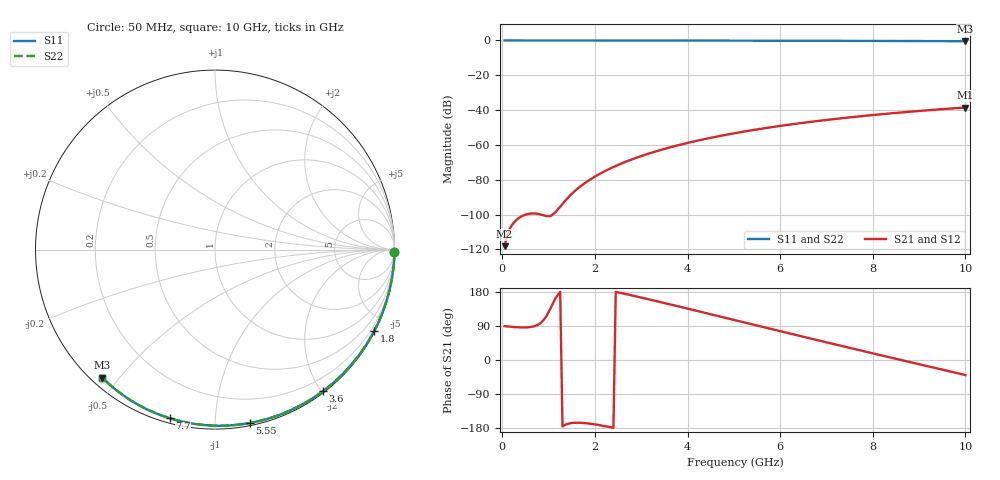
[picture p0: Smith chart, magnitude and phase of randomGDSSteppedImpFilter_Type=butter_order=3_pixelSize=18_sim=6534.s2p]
! freq	dB(S11)	phase(S11)	dB(S12)	phase(S12)
!  dB(S21)	phase(S21)	dB(S22)	phase(S22)
!S-par simulation data
#  GHz  S  DB  R 50
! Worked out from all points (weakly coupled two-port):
!   200 points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, 50 MHz to 10 GHz, reference 50 ohm
!   highest |S21| = -38.51 dB at 10 GHz (marker M1); lowest = -118.1 dB at 50 MHz (marker M2)
!   lowest |S11| = -0.4 dB at 10 GHz (marker M3), VSWR 39.30, Z = 1.53 - j22.6 ohm
!   |S11| at or under -10 dB: nowhere
!   |S22| runs from -0.4 to 0.0 dB; largest |S21 - S12| = 0
!   S11 on the Smith chart (normalised r, x): 50 MHz: open; 1.8 GHz: 0.04, -4.18; 3.6 GHz: 0.02, -2.02; 5.55 GHz: 0.02, -1.22; 7.7 GHz: 0.02, -0.77; 10 GHz: 0.03, -0.45
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0.05  -0.00 -0.8  -118.13 89.3  -118.13 89.3  -0.00 -0.8
0.45  -0.01 -6.8  -100.57 85.8  -100.57 85.8  -0.01 -6.8
0.9  -0.02 -13.6  -100.50 106.9  -100.50 106.9  -0.02 -13.6
1.75  -0.03 -26.2  -82.52 -166.2  -82.52 -166.2  -0.03 -26.2
1.8  -0.03 -26.9  -81.57 -166.7  -81.57 -166.7  -0.03 -26.9
1.9  -0.04 -28.4  -79.80 -168.1  -79.80 -168.1  -0.04 -28.4
2.05  -0.04 -30.6  -77.39 -170.9  -77.39 -170.9  -0.04 -30.6
2.25  -0.04 -33.5  -74.55 -175.3  -74.55 -175.3  -0.04 -33.5
2.45  -0.05 -36.4  -72.06 179.7  -72.06 179.7  -0.05 -36.4
2.65  -0.05 -39.3  -69.82 174.5  -69.82 174.5  -0.05 -39.3
3  -0.06 -44.2  -66.39 164.8  -66.39 164.8  -0.06 -44.2
3.4  -0.07 -49.9  -63.04 153.3  -63.04 153.3  -0.07 -49.9
3.6  -0.07 -52.6  -61.55 147.5  -61.55 147.5  -0.07 -52.6
4.3  -0.09 -62.2  -57.03 126.7  -57.03 126.7  -0.09 -62.2
5.05  -0.11 -72.2  -53.10 104.4  -53.10 104.4  -0.11 -72.2
5.55  -0.13 -78.6  -50.87 89.5  -50.87 89.5  -0.13 -78.6
6.1  -0.15 -85.6  -48.70 73.1  -48.70 73.1  -0.15 -85.6
6.7  -0.18 -93.0  -46.60 55.4  -46.60 55.4  -0.18 -93.0
7.7  -0.24 -105.0  -43.62 26.2  -43.62 26.2  -0.24 -105.0
8.35  -0.29 -112.6  -41.96 7.5  -41.96 7.5  -0.29 -112.6
9.15  -0.36 -121.7  -40.16 -15.4  -40.16 -15.4  -0.36 -121.7
10  -0.44 -131.3  -38.51 -39.6  -38.51 -39.6  -0.44 -131.3
